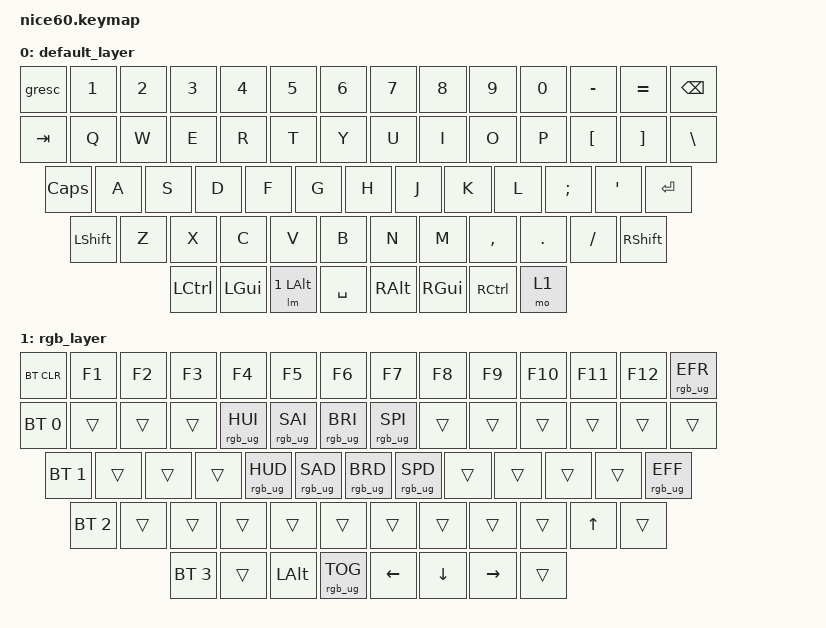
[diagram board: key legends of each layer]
/*
 * Copyright (c) 2021 Nick Winans
 *
 * SPDX-License-Identifier: MIT
 */

#include <behaviors.dtsi>
#include <dt-bindings/zmk/keys.h>
#include <dt-bindings/zmk/rgb.h>
#include <dt-bindings/zmk/bt.h>
#include <dt-bindings/zmk/outputs.h>
#include <dt-bindings/zmk/reset.h>
#include <dt-bindings/zmk/ext_power.h>

/ {
#define default_layer 0
#define rgb_layer 1
 lm {
    label = "LAYER_MOD";
    compatible = "zmk,behavior-macro-two-param";
    wait-ms = <0>;
    tap-ms = <0>;
    #binding-cells = <2>;
    bindings
        = <&macro_param_1to1>
        , <&macro_press &mo MACRO_PLACEHOLDER>
        , <&macro_param_2to1>
        , <&macro_press &kp MACRO_PLACEHOLDER>
        , <&macro_pause_for_release>
        , <&macro_param_2to1>
        , <&macro_release &kp MACRO_PLACEHOLDER>
        , <&macro_param_1to1>
        , <&macro_release &mo MACRO_PLACEHOLDER>
        ;
};

	keymap {
		compatible = "zmk,keymap";
		
		default_layer {
// ------------------------------------------------------------------------------------------
// | ESC |  1  |  2  |  3  |  4  |  5  |  6  |  7  |  8  |  9  |  0  |  -  |  =  |   BKSP   |
// | TAB  |  Q  |  W  |  E  |  R  |  T  |  Y  |  U  |  I  |  O  |  P  |  [  |  ]  |   "|"   |
// | CAPS  |  A  |  S  |  D  |  F  |  G  |  H  |  J  |  K  |  L  |  ;  |  '  |     ENTER    |
// |  SHIFT  |  Z  |  X  |  C  |  V  |  B  |  N  |  M  |  ,  |  .  |  /  |      SHIFT       |
// |  CTL  |  WIN  |  ALT  |            SPACE              |  ALT  |  WIN  |  CTL |  MO(1)  |
// ------------------------------------------------------------------------------------------
			bindings = <
	&gresc  &kp N1 &kp N2 &kp N3 &kp N4 &kp N5 &kp N6 &kp N7 &kp N8 &kp N9 &kp N0 &kp MINUS &kp EQUAL  &kp BSPC
	&kp TAB  &kp Q  &kp W  &kp E  &kp R  &kp T  &kp Y  &kp U  &kp I  &kp O  &kp P  &kp LBKT  &kp RBKT  &kp BSLH
	&kp CLCK  &kp A  &kp S  &kp D  &kp F  &kp G  &kp H  &kp J  &kp K  &kp L  &kp SEMI &kp SQT           &kp RET
	&kp LSHFT   &kp Z  &kp X  &kp C  &kp V  &kp B  &kp N  &kp M  &kp COMMA &kp DOT &kp FSLH           &kp RSHFT
	&kp LCTRL &kp LGUI &lm 1 LALT               &kp SPACE                 &kp RALT  &kp RGUI  &kp RCTRL   &mo 1
			>;
		};

		rgb_layer {
// ------------------------------------------------------------------------------------------------
// | BT CLR | F1  | F2  | F3  | F4  | F5  | F6  | F7  | F8  | F9  | F10  | F11 | F12 | EFFECT REV |
// |  BT 1   |   |     |   | HUEUP | SATUP | BRIUP | SPDUP |   |     |    |     |     |     DEL   |
// |   BT 2   |    |      |    | HUEDN | SATDN | BRIDN | SPDDN |   |     |   |     |  EFFECT FORW |
// |    BT 3     |     |      |      |     |     |     |     |     |     |  UP  |                 |
// |   BT 4  |     |  ALT  |             TOG RGB                |   LT   |   DN   |  RT   |       |
// ------------------------------------------------------------------------------------------------
			bindings = <
	&bt BT_CLR   &kp F1    &kp F2    &kp F3  &kp F4           &kp F5          &kp F6          &kp F7          &kp F8   &kp F9   &kp F10  &kp F11 &kp F12  &rgb_ug RGB_EFR
	&bt BT_SEL 0  &trans    &trans    &trans  &rgb_ug RGB_HUI  &rgb_ug RGB_SAI &rgb_ug RGB_BRI &rgb_ug RGB_SPI  &trans   &trans   &trans   &trans  &trans          &trans 
	&bt BT_SEL 1    &trans    &trans    &trans   &rgb_ug RGB_HUD &rgb_ug RGB_SAD &rgb_ug RGB_BRD &rgb_ug RGB_SPD &trans   &trans   &trans   &trans        &rgb_ug RGB_EFF
	&bt BT_SEL 2    &trans    &trans    &trans   &trans          &trans          &trans          &trans          &trans   &trans    &kp UP                         &trans
	&bt BT_SEL 3  &trans   &kp LALT                            &rgb_ug RGB_TOG                                      &kp LEFT     &kp DOWN     &kp RIGHT              &trans
			>;
		};
	};
};
